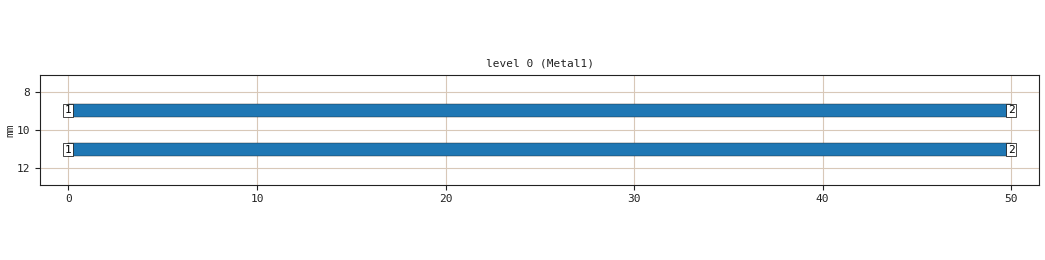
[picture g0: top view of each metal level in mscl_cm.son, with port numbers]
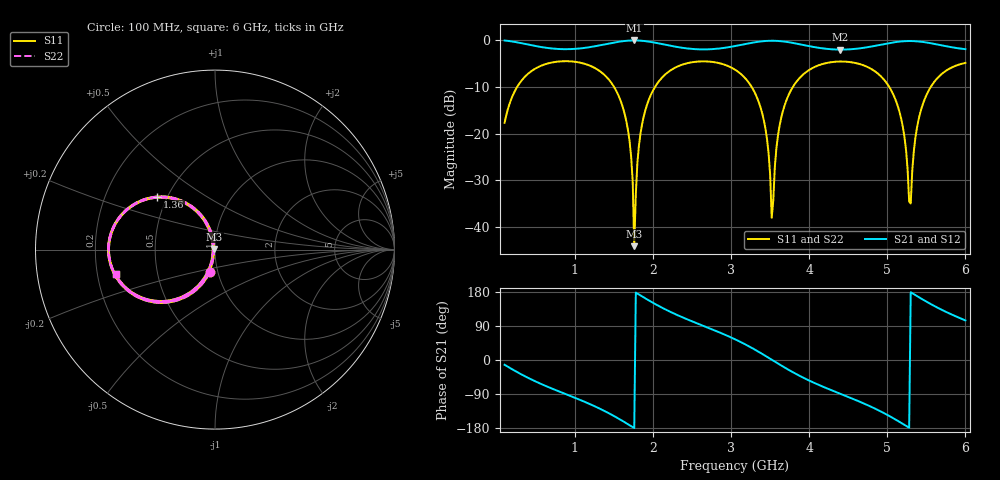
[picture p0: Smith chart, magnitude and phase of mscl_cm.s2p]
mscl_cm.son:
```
FTYP SONPROJ 19 ! Sonnet Project File
VER 18.53
HEADER
LIC SL63cb3875
DAT 09/16/2023 12:21:09
BUILT_BY_CREATED xgeom 18.53-Lite 09/16/2023 12:12:36
BUILT_BY_SAVED sonnet 18.53-Lite
MDATE 09/16/2023 12:20:47
HDATE 09/16/2023 12:20:47
END HEADER
DIM
ANG DEG
CAP PF
CON /OH
FREQ GHZ
IND NH
LNG MM
RES OH
END DIM
CONTROL
VARSWP
OPTIONS  -d
SPEED 0
CACHE_ABS 2
Q_ACC N
END CONTROL
GEO
TMET "Free Space" 0 FREESPACE 376.7303136 0 0 0
BMET "Lossless" 0 SUP 0 0 0 0
BOX 1 50 20 1000 400 20 0
      10 1 1 0 0 0 0 "Air"
      0.3 3.6 1 0.004 0 0 0 "R-5775KH"
TECHLAY METAL Metal1 <UNSPECIFIED> -2 -65534 
0 0 -1 N 9 1 1 100 100 0 0 0 Y
END
END
LORGN 0 20 U 
POR1 BOX
POLY 23 1
3
1 50 0 0 0 2.143131899e-17 8.95 
POR1 BOX
POLY 23 1
1
2 50 0 0 0 50 8.95 
POR1 BOX
POLY 24 1
3
1 50 0 0 0 0 11.05 
POR1 BOX
POLY 24 1
1
2 50 0 0 0 50 11.05 
NUM 2
0 5 -1 N 23 1 1 100 100 0 0 0 Y
TLAYNAM Metal1 INH
0 8.6
50 8.6
50 9.3
4.286263797e-17 9.3
0 8.6
END
0 5 -1 N 24 1 1 100 100 0 0 0 Y
TLAYNAM Metal1 INH
0 10.7
50 10.7
50 11.4
0 11.4
0 10.7
END
END GEO
OPT
MAX 100
END OPT
VARSWP
ENABLED Y
FREQ Y AY ABS_ENTRY 0.1 6.0 -1 300 
END
END VARSWP
```
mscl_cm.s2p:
! Sonnet Data File
! From: sonnet Version : 18.53-Lite
! From Emgraph Data:
! Data File Written: 09/16/2023 12:22:03
!< HDATE 09/16/2023 12:20:47
!< MDATE 09/16/2023 12:20:47
# GHZ S MA R 50.00000
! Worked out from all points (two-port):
!   296 points, 100 MHz to 6 GHz, reference 50 ohm
!   highest |S21| = -0.07 dB at 1.76 GHz (marker M1); lowest = -2.0 dB at 4.4 GHz (marker M2)
!   |S21| within 3 dB of the highest: start of sweep to end of sweep
!   lowest |S11| = -44.1 dB at 1.76 GHz (marker M3), VSWR 1.01, Z = 49.5 + j0.422 ohm
!   |S11| at or under -10 dB: 1.501 GHz to 2.027 GHz (525.6 MHz wide, 29.8 % of centre); 3.263 GHz to 3.792 GHz (529.2 MHz wide, 15 % of centre); 5.024 GHz to 5.557 GHz (532.7 MHz wide, 10.1 % of centre)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
!   |S22| runs from -44.1 to -4.5 dB; largest |S21 - S12| = 1.5e-12
!   S11 on the Smith chart (normalised r, x): 100 MHz: 0.91, -0.24; 1.36 GHz: 0.44, +0.32; 6 GHz: 0.28, -0.11
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0.1  0.1307 -102.9  0.9908 -12.6  0.9908 -12.6  0.1307 -102.9
1.36  0.4381 137.6  0.8942 -132.6  0.8942 -132.6  0.4382 137.6
1.68  0.1087 102.6  0.987 -169.5  0.987 -169.5  0.1087 102.6
1.76  0.006256 137.2  0.9923 -179.6  0.9923 -179.6  0.006252 137.1
2.02  0.3098 -122.4  0.942 148.6  0.942 148.6  0.3099 -122.4
3.06  0.4778 144.1  0.8675 53.7  0.8675 53.7  0.4778 144.1
3.52  0.01258 134.5  0.9852 0.8  0.9852 0.8  0.01263 134.8
3.74  0.2625 -118.3  0.9495 -26.4  0.9495 -26.4  0.2625 -118.3
4.4  0.5907 -179.4  0.7922 -89.3  0.7922 -89.3  0.5907 -179.4
5.3  0.01791 -137.8  0.9783 178.8  0.9783 178.8  0.01766 -137.0
6  0.5705 -166.1  0.8012 104.4  0.8012 104.4  0.5705 -166.1
